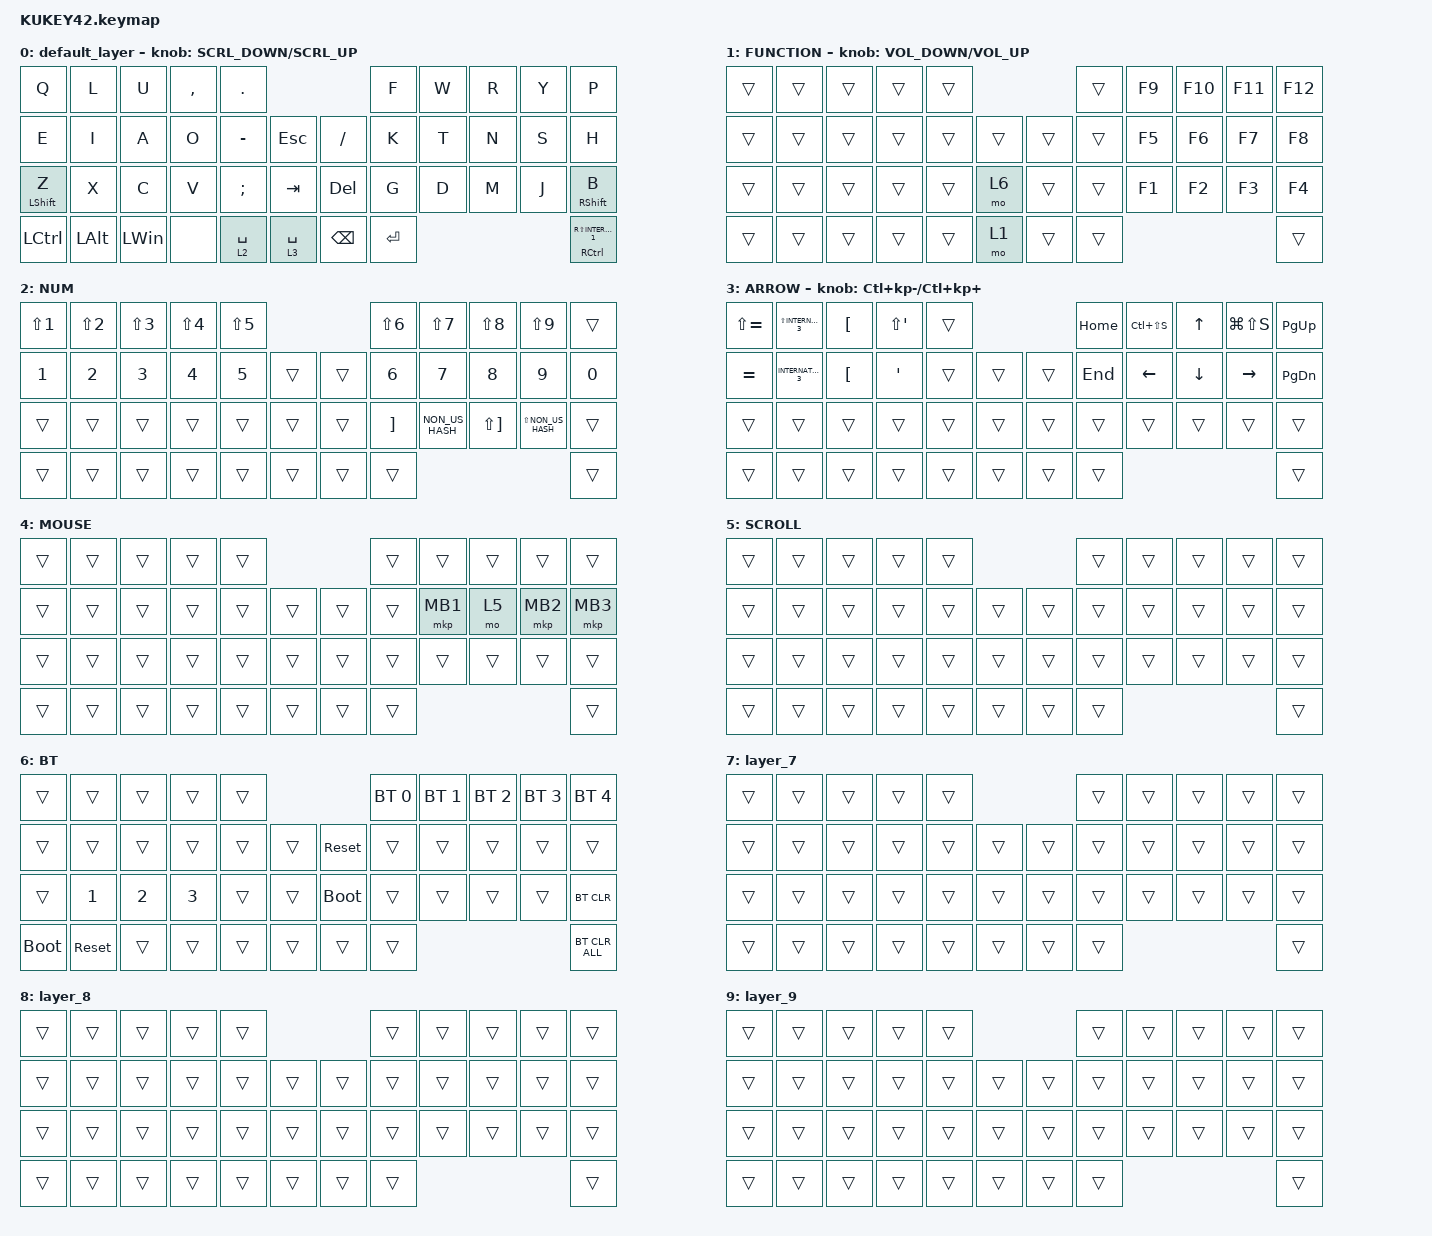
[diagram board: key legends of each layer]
#define ZMK_POINTING_DEFAULT_SCRL_VAL 80

#include <behaviors.dtsi>
#include <dt-bindings/zmk/bt.h>
#include <dt-bindings/zmk/keys.h>
#include <dt-bindings/zmk/pointing.h>

#define MOUSE 4
#define SCROLL 5
#define NUM 6

&mt {
    flavor = "balanced";
    quick-tap-ms = <0>;
};

/ {
    combos {
        compatible = "zmk,combos";

        comboTapdance {
            bindings = <&tapdance_kana>;
            key-positions = <39 38>;
        };

        comboF1 {
            bindings = <&kp F1>;
            key-positions = <0 10>;
        };

        comboF2 {
            bindings = <&kp F2>;
            key-positions = <1 11>;
        };

        comboF3 {
            bindings = <&kp F3>;
            key-positions = <2 12>;
        };

        comboF4 {
            bindings = <&kp F4>;
            key-positions = <3 13>;
        };

        comboF5 {
            bindings = <&kp F5>;
            key-positions = <4 14>;
        };

        comboF6 {
            bindings = <&kp F6>;
            key-positions = <5 17>;
        };

        comboF7 {
            bindings = <&kp F7>;
            key-positions = <6 18>;
        };

        comboF8 {
            bindings = <&kp F8>;
            key-positions = <7 19>;
        };

        comboF9 {
            bindings = <&kp F9>;
            key-positions = <8 20>;
        };

        comboF10 {
            bindings = <&kp F10>;
            key-positions = <9 21>;
        };

        comboF11 {
            bindings = <&kp F11>;
            key-positions = <15 27>;
        };

        comboF12 {
            bindings = <&kp F12>;
            key-positions = <16 28>;
        };

        shiftZ {
            bindings = <&kp LS(Z)>;
            key-positions = <22 34>;
        };

        shiftB {
            bindings = <&kp RS(B)>;
            key-positions = <33 42>;
        };
    };

    macros {
        to_layer_0: to_layer_0 {
            compatible = "zmk,behavior-macro-one-param";
            #binding-cells = <1>;
            bindings = <&to 0 &macro_param_1to1 &kp MACRO_PLACEHOLDER>;
            label = "TO_LAYER_0";
        };
    };

    behaviors {
        lt_to_layer_0: lt_to_layer_0 {
            compatible = "zmk,behavior-hold-tap";
            label = "LAYER_TAP_TO_0";
            bindings = <&mo>, <&to_layer_0>;

            #binding-cells = <2>;
            tapping-term-ms = <200>;
        };

        tapdance_kana: tapdance_kana {
            compatible = "zmk,behavior-tap-dance";
            label = "TAPDANCE_KANA";
            #binding-cells = <0>;
            bindings = <&kp INT2>, <&kp LANGUAGE_2>, <&sl 1>;

            tapping-term-ms = <400>;
        };

        WheelScroll: WheelScroll {
            compatible = "zmk,behavior-sensor-rotate-var";
            label = "WHEELSCROLL";
            #sensor-binding-cells = <2>;
            bindings = <&msc>, <&msc>;

            tap-ms = <20>;
        };
    };

    keymap {
        compatible = "zmk,keymap";

        default_layer {
            bindings = <
&kp Q             &kp L         &kp U         &kp COMMA  &kp PERIOD                                     &kp F      &kp W  &kp R  &kp Y  &kp P
&kp E             &kp I         &kp A         &kp O      &kp MINUS      &kp ESCAPE       &kp SLASH      &kp K      &kp T  &kp N  &kp S  &kp H
&mt LEFT_SHIFT Z  &kp X         &kp C         &kp V      &kp SEMICOLON  &kp TAB          &kp DEL        &kp G      &kp D  &kp M  &kp J  &mt RIGHT_SHIFT B
&kp LCTRL         &kp LEFT_ALT  &kp LEFT_WIN  &none      &lt 2 SPACE    &lt 3 SPACE      &kp BACKSPACE  &kp ENTER                       &mt RCTRL RS(INTERNATIONAL_1)
            >;

            sensor-bindings = <&WheelScroll SCRL_DOWN SCRL_UP>;
        };

        FUNCTION {
            bindings = <
&trans  &trans  &trans  &trans  &trans                      &trans  &kp F9  &kp F10  &kp F11  &kp F12
&trans  &trans  &trans  &trans  &trans  &trans      &trans  &trans  &kp F5  &kp F6   &kp F7   &kp F8
&trans  &trans  &trans  &trans  &trans  &mo 6       &trans  &trans  &kp F1  &kp F2   &kp F3   &kp F4
&trans  &trans  &trans  &trans  &trans  &mo 1       &trans  &trans                            &trans
            >;

            sensor-bindings = <&inc_dec_kp C_VOLUME_DOWN C_VOLUME_UP>;
        };

        NUM {
            bindings = <
&kp LS(NUMBER_1)  &kp LS(NUMBER_2)  &kp LS(NUMBER_3)  &kp LS(NUMBER_4)  &kp LS(NUMBER_5)                      &kp LS(NUMBER_6)   &kp LS(NUMBER_7)  &kp LS(NUMBER_8)       &kp LS(NUMBER_9)     &trans
&kp NUMBER_1      &kp NUMBER_2      &kp NUMBER_3      &kp NUMBER_4      &kp N5            &trans      &trans  &kp NUMBER_6       &kp NUMBER_7      &kp NUMBER_8           &kp NUMBER_9         &kp NUMBER_0
&trans            &trans            &trans            &trans            &trans            &trans      &trans  &kp RIGHT_BRACKET  &kp NON_US_HASH   &kp LS(RIGHT_BRACKET)  &kp LS(NON_US_HASH)  &trans
&trans            &trans            &trans            &trans            &trans            &trans      &trans  &trans                                                                           &trans
            >;
        };

        ARROW {
            bindings = <
&kp LS(EQUAL)  &kp LS(INTERNATIONAL_3)  &kp LEFT_BRACKET  &kp LS(SINGLE_QUOTE)  &trans                      &kp HOME  &kp LC(LS(S))   &kp UP_ARROW    &kp LG(LS(S))    &kp PAGE_UP
&kp EQUAL      &kp INTERNATIONAL_3      &kp LEFT_BRACKET  &kp SINGLE_QUOTE      &trans  &trans      &trans  &kp END   &kp LEFT_ARROW  &kp DOWN_ARROW  &kp RIGHT_ARROW  &kp PAGE_DOWN
&trans         &trans                   &trans            &trans                &trans  &trans      &trans  &trans    &trans          &trans          &trans           &trans
&trans         &trans                   &trans            &trans                &trans  &trans      &trans  &trans                                                     &trans
            >;

            sensor-bindings = <&inc_dec_kp LC(KP_MINUS) LC(KP_PLUS)>;
        };

        MOUSE {
            bindings = <
&trans  &trans  &trans  &trans  &trans                      &trans  &trans    &trans  &trans    &trans
&trans  &trans  &trans  &trans  &trans  &trans      &trans  &trans  &mkp MB1  &mo 5   &mkp MB2  &mkp MB3
&trans  &trans  &trans  &trans  &trans  &trans      &trans  &trans  &trans    &trans  &trans    &trans
&trans  &trans  &trans  &trans  &trans  &trans      &trans  &trans                              &trans
            >;
        };

        SCROLL {
            bindings = <
&trans  &trans  &trans  &trans  &trans                      &trans  &trans  &trans  &trans  &trans
&trans  &trans  &trans  &trans  &trans  &trans      &trans  &trans  &trans  &trans  &trans  &trans
&trans  &trans  &trans  &trans  &trans  &trans      &trans  &trans  &trans  &trans  &trans  &trans
&trans  &trans  &trans  &trans  &trans  &trans      &trans  &trans                          &trans
            >;
        };

        BT {
            bindings = <
&trans       &trans        &trans        &trans        &trans                           &bt BT_SEL 0  &bt BT_SEL 1  &bt BT_SEL 2  &bt BT_SEL 3  &bt BT_SEL 4
&trans       &trans        &trans        &trans        &trans  &trans      &sys_reset   &trans        &trans        &trans        &trans        &trans
&trans       &kp NUMBER_1  &kp NUMBER_2  &kp NUMBER_3  &trans  &trans      &bootloader  &trans        &trans        &trans        &trans        &bt BT_CLR
&bootloader  &sys_reset    &trans        &trans        &trans  &trans      &trans       &trans                                                  &bt BT_CLR_ALL
            >;
        };

        layer_7 {
            bindings = <
&trans  &trans  &trans  &trans  &trans                      &trans  &trans  &trans  &trans  &trans
&trans  &trans  &trans  &trans  &trans  &trans      &trans  &trans  &trans  &trans  &trans  &trans
&trans  &trans  &trans  &trans  &trans  &trans      &trans  &trans  &trans  &trans  &trans  &trans
&trans  &trans  &trans  &trans  &trans  &trans      &trans  &trans                          &trans
            >;
        };

        layer_8 {
            bindings = <
&trans  &trans  &trans  &trans  &trans                      &trans  &trans  &trans  &trans  &trans
&trans  &trans  &trans  &trans  &trans  &trans      &trans  &trans  &trans  &trans  &trans  &trans
&trans  &trans  &trans  &trans  &trans  &trans      &trans  &trans  &trans  &trans  &trans  &trans
&trans  &trans  &trans  &trans  &trans  &trans      &trans  &trans                          &trans
            >;
        };

        layer_9 {
            bindings = <
&trans  &trans  &trans  &trans  &trans                      &trans  &trans  &trans  &trans  &trans
&trans  &trans  &trans  &trans  &trans  &trans      &trans  &trans  &trans  &trans  &trans  &trans
&trans  &trans  &trans  &trans  &trans  &trans      &trans  &trans  &trans  &trans  &trans  &trans
&trans  &trans  &trans  &trans  &trans  &trans      &trans  &trans                          &trans
            >;
        };
    };
};
